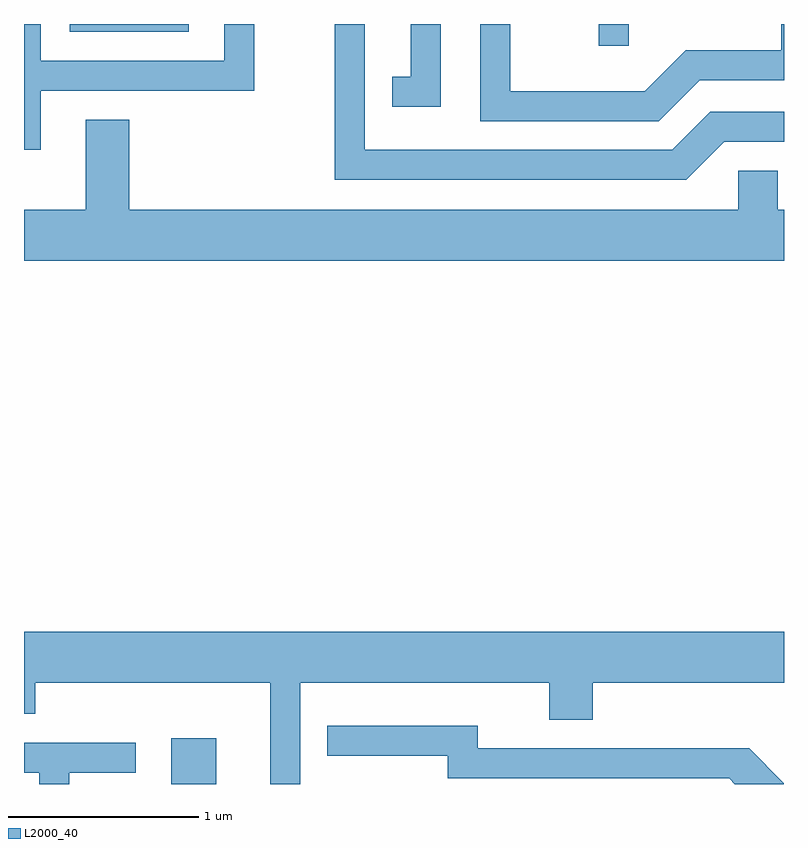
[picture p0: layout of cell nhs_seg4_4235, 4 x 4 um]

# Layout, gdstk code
import gdstk
lib = gdstk.Library(unit=1e-6, precision=1e-09)
def R(c, l, rs):  # rectangles x0, y0, x1, y1
    for r in rs: c.add(gdstk.rectangle(r[:2], r[2:], *l))
def P(c, l, *ps):  # polygons
    for p in ps: c.add(gdstk.Polygon(p, *l))
L2000_40 = (2000, 40)

nhs_seg4_4235 = lib.new_cell('nhs_seg4_4235')
R(nhs_seg4_4235, L2000_40, [(310.386,1291.982,310.624,1292.224), (312.636,1295.868,312.794,1295.982), (309.851,1295.941,310.479,1295.982)])
P(nhs_seg4_4235, L2000_40, [(311.804,1295.982),(311.646,1295.982),(311.646,1295.704),(311.548,1295.704),(311.548,1295.546),(311.804,1295.546)],
  [(313.297,1295.361),(313.611,1295.361),(313.611,1295.519),(313.224,1295.519),(313.024,1295.319),(311.404,1295.319),(311.404,1295.982),(311.246,1295.982),(311.246,1295.161),(313.097,1295.161)],
  [(309.699,1295.631),(310.824,1295.631),(310.824,1295.982),(310.666,1295.982),(310.666,1295.789),(309.699,1295.789),(309.699,1295.982),(309.611,1295.982),(309.611,1295.321),(309.699,1295.321)],
  [(313.167,1295.686),(313.611,1295.686),(313.611,1295.982),(313.596,1295.982),(313.596,1295.844),(313.094,1295.844),(312.879,1295.629),(312.169,1295.629),(312.169,1295.982),(312.011,1295.982),(312.011,1295.471),(312.952,1295.471)],
  [(313.611,1295.004),(313.579,1295.004),(313.579,1295.209),(313.371,1295.209),(313.371,1295.004),(310.164,1295.004),(310.164,1295.479),(309.936,1295.479),(309.936,1295.004),(309.611,1295.004),(309.611,1294.736),(313.611,1294.736)],
  [(311.064,1292.516),(312.376,1292.516),(312.376,1292.321),(312.604,1292.321),(312.604,1292.516),(313.611,1292.516),(313.611,1292.784),(309.611,1292.784),(309.611,1292.351),(309.669,1292.351),(309.669,1292.516),(310.906,1292.516),(310.906,1291.982),(311.064,1291.982)],
  [(313.609,1291.987),(313.427,1292.169),(311.999,1292.169),(311.999,1292.289),(311.208,1292.289),(311.208,1292.131),(311.841,1292.131),(311.841,1292.011),(313.324,1292.011),(313.353,1291.982),(313.609,1291.982)],
  [(309.849,1292.041),(310.198,1292.041),(310.198,1292.199),(309.611,1292.199),(309.611,1292.041),(309.691,1292.041),(309.691,1291.982),(309.849,1291.982)])

lib.write_gds('nhs_seg4_4235.gds')
